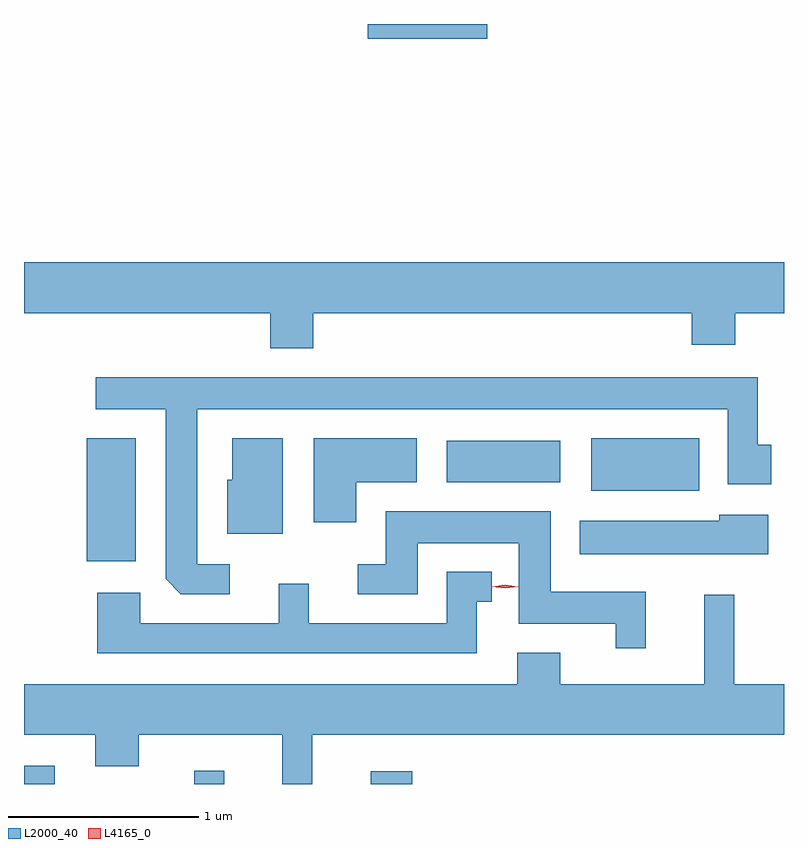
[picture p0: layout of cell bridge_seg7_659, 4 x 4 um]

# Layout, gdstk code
import gdstk
lib = gdstk.Library(unit=1e-6, precision=1e-09)
def R(c, l, rs):  # rectangles x0, y0, x1, y1
    for r in rs: c.add(gdstk.rectangle(r[:2], r[2:], *l))
def P(c, l, *ps):  # polygons
    for p in ps: c.add(gdstk.Polygon(p, *l))
L2000_40 = (2000, 40)
L4165_0 = (4165, 0)

bridge_seg7_659 = lib.new_cell('bridge_seg7_659')
R(bridge_seg7_659, L2000_40, [(980.466,1731.818,980.629,1731.914), (981.361,1731.818,981.519,1731.888), (982.291,1731.818,982.509,1731.884), (980.796,1732.991,981.054,1733.639), (983.451,1733.361,984.019,1733.639), (982.691,1733.406,983.289,1733.624), (982.276,1735.741,982.904,1735.818)])
P(bridge_seg7_659, L2000_40, [(980.466,1734.296),(981.761,1734.296),(981.761,1734.111),(981.989,1734.111),(981.989,1734.296),(983.981,1734.296),(983.981,1734.131),(984.209,1734.131),(984.209,1734.296),(984.466,1734.296),(984.466,1734.564),(980.466,1734.564)],
  [(981.548,1732.974),(981.379,1732.974),(981.379,1733.791),(984.171,1733.791),(984.171,1733.396),(984.399,1733.396),(984.399,1733.604),(984.329,1733.604),(984.329,1733.959),(980.843,1733.959),(980.843,1733.791),(981.211,1733.791),(981.211,1732.897),(981.292,1732.816),(981.548,1732.816)],
  [(981.829,1733.639),(981.561,1733.639),(981.561,1733.419),(981.536,1733.419),(981.536,1733.136),(981.829,1733.136)],
  [(982.214,1733.406),(982.534,1733.406),(982.534,1733.639),(981.991,1733.639),(981.991,1733.196),(982.214,1733.196)],
  [(983.739,1732.829),(983.239,1732.829),(983.239,1733.254),(982.371,1733.254),(982.371,1732.974),(982.223,1732.974),(982.223,1732.816),(982.539,1732.816),(982.539,1733.086),(983.071,1733.086),(983.071,1732.661),(983.581,1732.661),(983.581,1732.533),(983.739,1732.533)],
  [(984.384,1733.234),(984.126,1733.234),(984.126,1733.204),(983.391,1733.204),(983.391,1733.026),(984.384,1733.026)],
  [(982.849,1732.776),(982.928,1732.776),(982.928,1732.934),(982.691,1732.934),(982.691,1732.664),(981.964,1732.664),(981.964,1732.873),(981.806,1732.873),(981.806,1732.664),(981.079,1732.664),(981.079,1732.824),(980.851,1732.824),(980.851,1732.506),(982.849,1732.506)],
  [(981.984,1732.076),(984.466,1732.076),(984.466,1732.344),(984.204,1732.344),(984.204,1732.813),(984.046,1732.813),(984.046,1732.344),(983.289,1732.344),(983.289,1732.509),(983.061,1732.509),(983.061,1732.344),(980.466,1732.344),(980.466,1732.076),(980.841,1732.076),(980.841,1731.911),(981.069,1731.911),(981.069,1732.076),(981.826,1732.076),(981.826,1731.818),(981.984,1731.818)])
P(bridge_seg7_659, L4165_0, [(982.998,1732.847),(982.929,1732.856),(982.929,1732.856),(982.929,1732.857),(982.998,1732.866),(983.068,1732.857),(983.068,1732.857),(983.068,1732.856)])

lib.write_gds('bridge_seg7_659.gds')
